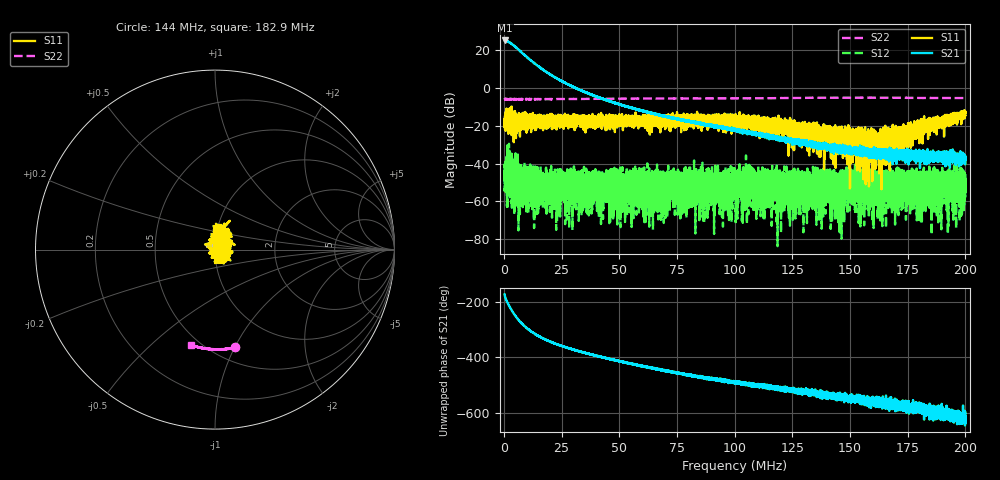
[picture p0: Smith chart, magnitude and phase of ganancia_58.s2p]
# Hz S DB R 50
! CMT, M5065, 19127446, 24.2.4/2
! Date: 11/8/2024 4:18:55 PM
! Data: Format (Calibration Info)
! Freq	S11:dB/Ang(F2)	S21:dB/Ang(F2)	S12:dB/Ang(F2)	S22:dB/Ang(F2)
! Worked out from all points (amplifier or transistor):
!   9000 points, 300 kHz to 200 MHz, reference 50 ohm
!   highest |S21| = 25.2 dB at 455.3 kHz (marker M1)
!   |S21| within 3 dB of that: start of sweep to 4.596 MHz
!   unconditionally stable (mu >= 1): start of sweep to 1.407 MHz; 1.412 MHz to 2.184 MHz; 2.188 MHz to end of sweep
!   at 33.59 MHz: K = 135.73, MAG = 0.2 dB, |S12| = -50.3 dB
!   at 100.2 MHz: K = 958.85, MAG = -21.1 dB, |S12| = -46.2 dB
!   at 200 MHz: K = 4945.32, MAG = -36.2 dB, |S12| = -45.5 dB
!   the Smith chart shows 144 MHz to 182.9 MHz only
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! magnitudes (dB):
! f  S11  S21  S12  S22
! 300 kHz  -16.4  25.2  -48.9  -5.8
! 455.3 kHz  -19.8  25.2  -46.6  -5.9
! 5.271 MHz  -15.1  21.5  -48.6  -5.8
! 9.576 MHz  -19.2  16.9  -50.6  -5.8
! 11.71 MHz  -16.0  14.6  -48.3  -5.8
! 33.59 MHz  -16.9  -1.3  -50.3  -5.7
! 66.87 MHz  -17.5  -14.2  -51.2  -5.5
! 73.07 MHz  -15.4  -15.6  -56.2  -5.5
! 77.3 MHz  -17.1  -16.8  -48.4  -5.5
! 90.51 MHz  -17.8  -19.9  -47.4  -5.4
! 92.53 MHz  -15.6  -20.2  -44.8  -5.4
! 94.59 MHz  -15.8  -20.9  -61.5  -5.4
! 100.2 MHz  -16.8  -22.6  -46.2  -5.4
! 109.1 MHz  -21.0  -23.9  -49.7  -5.4
! 133.4 MHz  -20.7  -29.6  -50.3  -5.1
! 154.5 MHz  -41.6  -31.4  -43.3  -5.1
! 157.8 MHz  -29.2  -31.9  -49.3  -5.1
! 166.7 MHz  -26.4  -38.3  -47.1  -5.1
! 181 MHz  -22.4  -38.9  -71.2  -5.2
! 193.7 MHz  -16.6  -35.8  -52.2  -5.2
! 195.2 MHz  -17.0  -37.6  -55.4  -5.2
! 200 MHz  -12.7  -38.0  -45.5  -5.3
